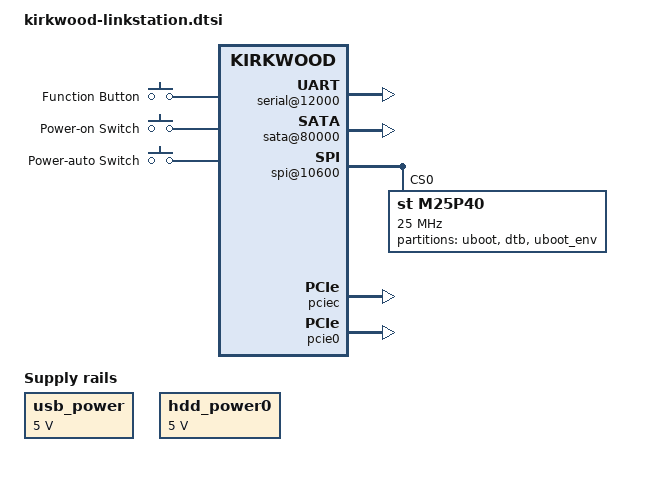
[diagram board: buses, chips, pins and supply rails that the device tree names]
/*
 * Device Tree common file for kirkwood based Buffalo Linkstation
 *
 * Copyright (C) 2015, 2016
 * Roger Shimizu <rogershimizu@gmail.com>
 *
 * This file is dual-licensed: you can use it either under the terms
 * of the GPL or the X11 license, at your option. Note that this dual
 * licensing only applies to this file, and not this project as a
 * whole.
 *
 *  a) This file is free software; you can redistribute it and/or
 *     modify it under the terms of the GNU General Public License as
 *     published by the Free Software Foundation; either version 2 of the
 *     License, or (at your option) any later version.
 *
 *     This file is distributed in the hope that it will be useful
 *     but WITHOUT ANY WARRANTY; without even the implied warranty of
 *     MERCHANTABILITY or FITNESS FOR A PARTICULAR PURPOSE.  See the
 *     GNU General Public License for more details.
 *
 * Or, alternatively
 *
 *  b) Permission is hereby granted, free of charge, to any person
 *     obtaining a copy of this software and associated documentation
 *     files (the "Software"), to deal in the Software without
 *     restriction, including without limitation the rights to use
 *     copy, modify, merge, publish, distribute, sublicense, and/or
 *     sell copies of the Software, and to permit persons to whom the
 *     Software is furnished to do so, subject to the following
 *     conditions:
 *
 *     The above copyright notice and this permission notice shall be
 *     included in all copies or substantial portions of the Software.
 *
 *     THE SOFTWARE IS PROVIDED , WITHOUT WARRANTY OF ANY KIND
 *     EXPRESS OR IMPLIED, INCLUDING BUT NOT LIMITED TO THE WARRANTIES
 *     OF MERCHANTABILITY, FITNESS FOR A PARTICULAR PURPOSE AND
 *     NONINFRINGEMENT. IN NO EVENT SHALL THE AUTHORS OR COPYRIGHT
 *     HOLDERS BE LIABLE FOR ANY CLAIM, DAMAGES OR OTHER LIABILITY
 *     WHETHER IN AN ACTION OF CONTRACT, TORT OR OTHERWISE, ARISING
 *     FROM, OUT OF OR IN CONNECTION WITH THE SOFTWARE OR THE USE OR
 *     OTHER DEALINGS IN THE SOFTWARE.
 */

/ {
	chosen {
		bootargs = "console=ttyS0,115200n8 earlyprintk";
		stdout-path = &uart0;
	};

	ocp@f1000000 {
		pinctrl: pin-controller@10000 {
			pmx_power_hdd0: pmx-power-hdd0 {
				marvell,function = "gpio";
			};
			pmx_usb_vbus: pmx-usb-vbus {
				marvell,function = "gpio";
			};
			pmx_led_alarm: pmx-led-alarm {
				marvell,function = "gpio";
			};
			pmx_led_function_red: pmx-led-function-red {
				marvell,function = "gpio";
			};
			pmx_led_function_blue: pmx-led-function-blue {
				marvell,function = "gpio";
			};
			pmx_led_info: pmx-led-info {
				marvell,function = "gpio";
			};
			pmx_led_power: pmx-led-power {
				marvell,function = "gpio";
			};
			pmx_button_function: pmx-button-function {
				marvell,function = "gpio";
			};
			pmx_power_switch: pmx-power-switch {
				marvell,function = "gpio";
			};
			pmx_power_auto_switch: pmx-power-auto-switch {
				marvell,function = "gpio";
			};
		};

		serial@12000 {
			status = "okay";
		};

		sata@80000 {
			status = "okay";
			nr-ports = <1>;
		};

		spi@10600 {
			status = "okay";

			m25p40@0 {
				#address-cells = <1>;
				#size-cells = <1>;
				compatible = "st,m25p40", "jedec,spi-nor";
				reg = <0>;
				spi-max-frequency = <25000000>;
				mode = <0>;

				partition@0 {
					reg = <0x0 0x60000>;
					label = "uboot";
					read-only;
				};

				partition@60000 {
					reg = <0x60000 0x10000>;
					label = "dtb";
					read-only;
				};

				partition@70000 {
					reg = <0x70000 0x10000>;
					label = "uboot_env";
				};
			};
		};
	};

	gpio_keys {
		compatible = "gpio-keys";
		#address-cells = <1>;
		#size-cells = <0>;
		pinctrl-0 = <&pmx_button_function &pmx_power_switch
			     &pmx_power_auto_switch>;
		pinctrl-names = "default";

		function-button {
			label = "Function Button";
			linux,code = <KEY_OPTION>;
		};

		power-on-switch {
			label = "Power-on Switch";
			linux,code = <KEY_RESERVED>;
			linux,input-type = <5>;
		};

		power-auto-switch {
			label = "Power-auto Switch";
			linux,code = <KEY_ESC>;
			linux,input-type = <5>;
		};
	};

	gpio_leds {
		compatible = "gpio-leds";
		pinctrl-0 = <&pmx_led_function_red &pmx_led_alarm
			     &pmx_led_info &pmx_led_power
			     &pmx_led_function_blue>;
		pinctrl-names = "default";
	};

	restart_poweroff {
		compatible = "restart-poweroff";
	};

	regulators {
		compatible = "simple-bus";
		#address-cells = <1>;
		#size-cells = <0>;
		pinctrl-0 = <&pmx_power_hdd0 &pmx_usb_vbus>;
		pinctrl-names = "default";

		usb_power: regulator@1 {
			compatible = "regulator-fixed";
			reg = <1>;
			regulator-name = "USB Power";
			regulator-min-microvolt = <5000000>;
			regulator-max-microvolt = <5000000>;
			enable-active-high;
			regulator-always-on;
			regulator-boot-on;
		};

		hdd_power0: regulator@2 {
			compatible = "regulator-fixed";
			reg = <2>;
			regulator-name = "HDD0 Power";
			regulator-min-microvolt = <5000000>;
			regulator-max-microvolt = <5000000>;
			enable-active-high;
			regulator-always-on;
			regulator-boot-on;
		};
	};
};

&pciec {
        status = "okay";
};

&pcie0 {
	status = "okay";
};
